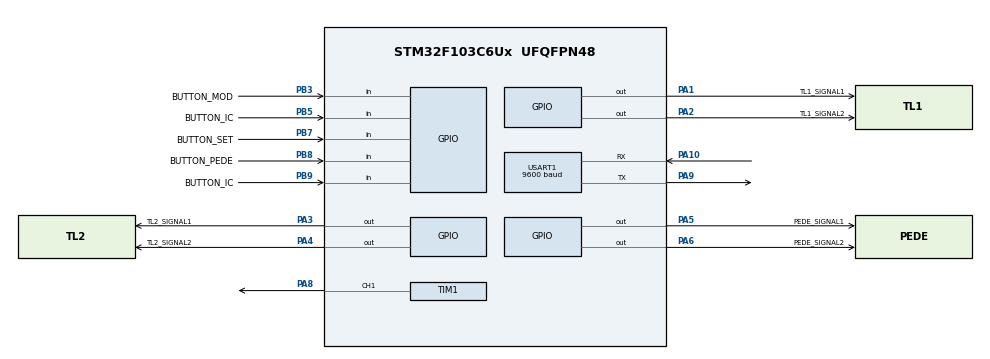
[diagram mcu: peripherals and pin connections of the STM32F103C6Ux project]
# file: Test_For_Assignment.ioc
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Mcu.Family=STM32F1
Mcu.Name=STM32F103C6Ux
Mcu.Package=UFQFPN48
NVIC.PriorityGroup=NVIC_PRIORITYGROUP_4
NVIC.TIM2_IRQn=true\:0\:0\:false\:false\:true\:true\:true
NVIC.USART1_IRQn=true\:0\:0\:false\:false\:true\:true\:true
PA1.GPIO_Label=TL1_SIGNAL1
PA1.Signal=GPIO_Output
PA10.Mode=Asynchronous
PA10.Signal=USART1_RX
PA13.Mode=Serial_Wire
PA13.Signal=SYS_JTMS-SWDIO
PA14.Mode=Serial_Wire
PA14.Signal=SYS_JTCK-SWCLK
PA2.GPIO_Label=TL1_SIGNAL2
PA2.Signal=GPIO_Output
PA3.GPIO_Label=TL2_SIGNAL1
PA3.Signal=GPIO_Output
PA4.GPIO_Label=TL2_SIGNAL2
PA4.Signal=GPIO_Output
PA5.GPIO_Label=PEDE_SIGNAL1
PA5.Signal=GPIO_Output
PA6.GPIO_Label=PEDE_SIGNAL2
PA6.Signal=GPIO_Output
PA8.Signal=S_TIM1_CH1
PA9.Mode=Asynchronous
PA9.Signal=USART1_TX
PB3.GPIO_Label=BUTTON_MOD
PB3.GPIO_PuPd=GPIO_PULLUP
PB3.Signal=GPIO_Input
PB5.GPIO_Label=BUTTON_IC
PB5.GPIO_PuPd=GPIO_PULLUP
PB5.Signal=GPIO_Input
PB7.GPIO_Label=BUTTON_SET
PB7.GPIO_PuPd=GPIO_PULLUP
PB7.Signal=GPIO_Input
PB8.GPIO_Label=BUTTON_PEDE
PB8.GPIO_PuPd=GPIO_PULLUP
PB8.Signal=GPIO_Input
PB9.GPIO_Label=BUTTON_IC
PB9.GPIO_PuPd=GPIO_PULLUP
PB9.Signal=GPIO_Input
ProjectManager.HeapSize=0x200
ProjectManager.StackSize=0x400
ProjectManager.TargetToolchain=STM32CubeIDE
RCC.APB1Freq_Value=8000000
RCC.APB2Freq_Value=8000000
SH.S_TIM1_CH1.0=TIM1_CH1,PWM Generation1 CH1
TIM1.Channel-PWM\ Generation1\ CH1=TIM_CHANNEL_1
TIM1.Period=999
TIM1.Prescaler=79
TIM1.Pulse-PWM\ Generation1\ CH1=99
TIM2.Period=9
TIM2.Prescaler=7999
USART1.BaudRate=9600
USART1.VirtualMode=VM_ASYNC
VP_TIM1_VS_ClockSourceINT.Mode=Internal
VP_TIM2_VS_ClockSourceINT.Mode=Internal
board=custom

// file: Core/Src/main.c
/* USER CODE BEGIN Header */
/**
  ******************************************************************************
  * @file           : main.c
  * @brief          : Main program body
  ******************************************************************************
  * @attention
  *
  * <h2><center>&copy; Copyright (c) 2022 ST-+
  *
  *
  *
  *
  *
  *
  *
  *
  * Microelectronics.
  * All rights reserved.</center></h2>
  *	opensource.org/licenses/BSD-3-Clause
  *
  ******************************************************************************
  */
/* USER CODE END Header */
#include "main.h"

/* USER CODE BEGIN Includes */
#include "global.h"
/* USER CODE END Includes */

TIM_HandleTypeDef htim1;
TIM_HandleTypeDef htim2;

UART_HandleTypeDef huart1;

void SystemClock_Config(void);
static void MX_GPIO_Init(void);
static void MX_TIM2_Init(void);
static void MX_TIM1_Init(void);
static void MX_USART1_UART_Init(void);

int main(void)
{

  /* MCU Configuration--------------------------------------------------------*/

  /* Reset of all peripherals, Initializes the Flash interface and the Systick. */
  HAL_Init();

  /* Configure the system clock */
  SystemClock_Config();

  /* Initialize all configured peripherals */
  MX_GPIO_Init();
  MX_TIM2_Init();
  MX_TIM1_Init();
  MX_USART1_UART_Init();
  /* USER CODE BEGIN 2 */
  HAL_TIM_Base_Start_IT(&htim2);
  HAL_TIM_PWM_Start(&htim3, TIM_CHANNEL_1);

  /* USER CODE END 2 */

  /* Infinite loop */
  /* USER CODE BEGIN WHILE */
  SCH_Init();
  setTimer1(100);
  setTimer2(100);
  SCH_Add_Task(FSM_Traffic_Light_Row, 0, 1);
  SCH_Add_Task(FSM_Traffic_Light_Col, 0, 1);
  SCH_Add_Task(FSM_Pedestrian, 0, 1);
  SCH_Add_Task(display_traffic_light, 0, 1);
  SCH_Add_Task(FSM_Buzzer, 0, 1);
  SCH_Add_Task(timerRun, 0, 1);
  SCH_Add_Task(button_reading, 0, 1);
  while (1)
  {
//	  FSM_Traffic_Light_Row();
//	  FSM_Traffic_Light_Col();
//	  FSM_Pedestrian();
//	  display_traffic_light();
//	  FSM_Buzzer();
	  SCH_Dispatch_Tasks();
    /* USER CODE END WHILE */

  }
}

void SystemClock_Config(void)
{
  RCC_OscInitTypeDef RCC_OscInitStruct = {0};
  RCC_ClkInitTypeDef RCC_ClkInitStruct = {0};

  /** Initializes the RCC Oscillators according to the specified parameters
  * in the RCC_OscInitTypeDef structure.
  */
  RCC_OscInitStruct.OscillatorType = RCC_OSCILLATORTYPE_HSI;
  RCC_OscInitStruct.HSIState = RCC_HSI_ON;
  RCC_OscInitStruct.HSICalibrationValue = RCC_HSICALIBRATION_DEFAULT;
  RCC_OscInitStruct.PLL.PLLState = RCC_PLL_NONE;
  if (HAL_RCC_OscConfig(&RCC_OscInitStruct) != HAL_OK)
  {
    Error_Handler();
  }
  /** Initializes the CPU, AHB and APB buses clocks
  */
  RCC_ClkInitStruct.ClockType = RCC_CLOCKTYPE_HCLK|RCC_CLOCKTYPE_SYSCLK
                              |RCC_CLOCKTYPE_PCLK1|RCC_CLOCKTYPE_PCLK2;
  RCC_ClkInitStruct.SYSCLKSource = RCC_SYSCLKSOURCE_HSI;
  RCC_ClkInitStruct.AHBCLKDivider = RCC_SYSCLK_DIV1;
  RCC_ClkInitStruct.APB1CLKDivider = RCC_HCLK_DIV1;
  RCC_ClkInitStruct.APB2CLKDivider = RCC_HCLK_DIV1;

  if (HAL_RCC_ClockConfig(&RCC_ClkInitStruct, FLASH_LATENCY_0) != HAL_OK)
  {
    Error_Handler();
  }
}

static void MX_TIM1_Init(void)
{

  TIM_ClockConfigTypeDef sClockSourceConfig = {0};
  TIM_MasterConfigTypeDef sMasterConfig = {0};
  TIM_OC_InitTypeDef sConfigOC = {0};
  TIM_BreakDeadTimeConfigTypeDef sBreakDeadTimeConfig = {0};

  htim1.Instance = TIM1;
  htim1.Init.Prescaler = 79;
  htim1.Init.CounterMode = TIM_COUNTERMODE_UP;
  htim1.Init.Period = 999;
  htim1.Init.ClockDivision = TIM_CLOCKDIVISION_DIV1;
  htim1.Init.RepetitionCounter = 0;
  htim1.Init.AutoReloadPreload = TIM_AUTORELOAD_PRELOAD_DISABLE;
  if (HAL_TIM_Base_Init(&htim1) != HAL_OK)
  {
    Error_Handler();
  }
  sClockSourceConfig.ClockSource = TIM_CLOCKSOURCE_INTERNAL;
  if (HAL_TIM_ConfigClockSource(&htim1, &sClockSourceConfig) != HAL_OK)
  {
    Error_Handler();
  }
  if (HAL_TIM_PWM_Init(&htim1) != HAL_OK)
  {
    Error_Handler();
  }
  sMasterConfig.MasterOutputTrigger = TIM_TRGO_RESET;
  sMasterConfig.MasterSlaveMode = TIM_MASTERSLAVEMODE_DISABLE;
  if (HAL_TIMEx_MasterConfigSynchronization(&htim1, &sMasterConfig) != HAL_OK)
  {
    Error_Handler();
  }
  sConfigOC.OCMode = TIM_OCMODE_PWM1;
  sConfigOC.Pulse = 99;
  sConfigOC.OCPolarity = TIM_OCPOLARITY_HIGH;
  sConfigOC.OCNPolarity = TIM_OCNPOLARITY_HIGH;
  sConfigOC.OCFastMode = TIM_OCFAST_DISABLE;
  sConfigOC.OCIdleState = TIM_OCIDLESTATE_RESET;
  sConfigOC.OCNIdleState = TIM_OCNIDLESTATE_RESET;
  if (HAL_TIM_PWM_ConfigChannel(&htim1, &sConfigOC, TIM_CHANNEL_1) != HAL_OK)
  {
    Error_Handler();
  }
  sBreakDeadTimeConfig.OffStateRunMode = TIM_OSSR_DISABLE;
  sBreakDeadTimeConfig.OffStateIDLEMode = TIM_OSSI_DISABLE;
  sBreakDeadTimeConfig.LockLevel = TIM_LOCKLEVEL_OFF;
  sBreakDeadTimeConfig.DeadTime = 0;
  sBreakDeadTimeConfig.BreakState = TIM_BREAK_DISABLE;
  sBreakDeadTimeConfig.BreakPolarity = TIM_BREAKPOLARITY_HIGH;
  sBreakDeadTimeConfig.AutomaticOutput = TIM_AUTOMATICOUTPUT_DISABLE;
  if (HAL_TIMEx_ConfigBreakDeadTime(&htim1, &sBreakDeadTimeConfig) != HAL_OK)
  {
    Error_Handler();
  }
  HAL_TIM_MspPostInit(&htim1);

}

static void MX_TIM2_Init(void)
{

  TIM_ClockConfigTypeDef sClockSourceConfig = {0};
  TIM_MasterConfigTypeDef sMasterConfig = {0};

  htim2.Instance = TIM2;
  htim2.Init.Prescaler = 7999;
  htim2.Init.CounterMode = TIM_COUNTERMODE_UP;
  htim2.Init.Period = 9;
  htim2.Init.ClockDivision = TIM_CLOCKDIVISION_DIV1;
  htim2.Init.AutoReloadPreload = TIM_AUTORELOAD_PRELOAD_DISABLE;
  if (HAL_TIM_Base_Init(&htim2) != HAL_OK)
  {
    Error_Handler();
  }
  sClockSourceConfig.ClockSource = TIM_CLOCKSOURCE_INTERNAL;
  if (HAL_TIM_ConfigClockSource(&htim2, &sClockSourceConfig) != HAL_OK)
  {
    Error_Handler();
  }
  sMasterConfig.MasterOutputTrigger = TIM_TRGO_RESET;
  sMasterConfig.MasterSlaveMode = TIM_MASTERSLAVEMODE_DISABLE;
  if (HAL_TIMEx_MasterConfigSynchronization(&htim2, &sMasterConfig) != HAL_OK)
  {
    Error_Handler();
  }

}

static void MX_USART1_UART_Init(void)
{

  huart1.Instance = USART1;
  huart1.Init.BaudRate = 9600;
  huart1.Init.WordLength = UART_WORDLENGTH_8B;
  huart1.Init.StopBits = UART_STOPBITS_1;
  huart1.Init.Parity = UART_PARITY_NONE;
  huart1.Init.Mode = UART_MODE_TX_RX;
  huart1.Init.HwFlowCtl = UART_HWCONTROL_NONE;
  huart1.Init.OverSampling = UART_OVERSAMPLING_16;
  if (HAL_UART_Init(&huart1) != HAL_OK)
  {
    Error_Handler();
  }

}

static void MX_GPIO_Init(void)
{
  GPIO_InitTypeDef GPIO_InitStruct = {0};

  /* GPIO Ports Clock Enable */
  __HAL_RCC_GPIOA_CLK_ENABLE();
  __HAL_RCC_GPIOB_CLK_ENABLE();

  /*Configure GPIO pin Output Level */
  HAL_GPIO_WritePin(GPIOA, TL1_SIGNAL1_Pin|TL1_SIGNAL2_Pin|TL2_SIGNAL1_Pin|TL2_SIGNAL2_Pin
                          |PEDE_SIGNAL1_Pin|PEDE_SIGNAL2_Pin, GPIO_PIN_RESET);

  /*Configure GPIO pins : TL1_SIGNAL1_Pin TL1_SIGNAL2_Pin TL2_SIGNAL1_Pin TL2_SIGNAL2_Pin
                           PEDE_SIGNAL1_Pin PEDE_SIGNAL2_Pin */
  GPIO_InitStruct.Pin = TL1_SIGNAL1_Pin|TL1_SIGNAL2_Pin|TL2_SIGNAL1_Pin|TL2_SIGNAL2_Pin
                          |PEDE_SIGNAL1_Pin|PEDE_SIGNAL2_Pin;
  GPIO_InitStruct.Mode = GPIO_MODE_OUTPUT_PP;
  GPIO_InitStruct.Pull = GPIO_NOPULL;
  GPIO_InitStruct.Speed = GPIO_SPEED_FREQ_LOW;
  HAL_GPIO_Init(GPIOA, &GPIO_InitStruct);

  /*Configure GPIO pins : BUTTON_MOD_Pin BUTTON_IC_Pin BUTTON_SET_Pin BUTTON_PEDE_Pin
                           BUTTON_ICB9_Pin */
  GPIO_InitStruct.Pin = BUTTON_MOD_Pin|BUTTON_IC_Pin|BUTTON_SET_Pin|BUTTON_PEDE_Pin
                          |BUTTON_ICB9_Pin;
  GPIO_InitStruct.Mode = GPIO_MODE_INPUT;
  GPIO_InitStruct.Pull = GPIO_PULLUP;
  HAL_GPIO_Init(GPIOB, &GPIO_InitStruct);

}

/* USER CODE BEGIN 4 */
void HAL_TIM_PeriodElapsedCallback(TIM_HandleTypeDef * htim){
//	timerRun();
//	button_reading();
	SCH_Update();
}
/* USER CODE END 4 */

void Error_Handler(void)
{
  __disable_irq();
  while (1)
  {
  }
}

/************************ (C) COPYRIGHT STMicroelectronics *****END OF FILE****/
